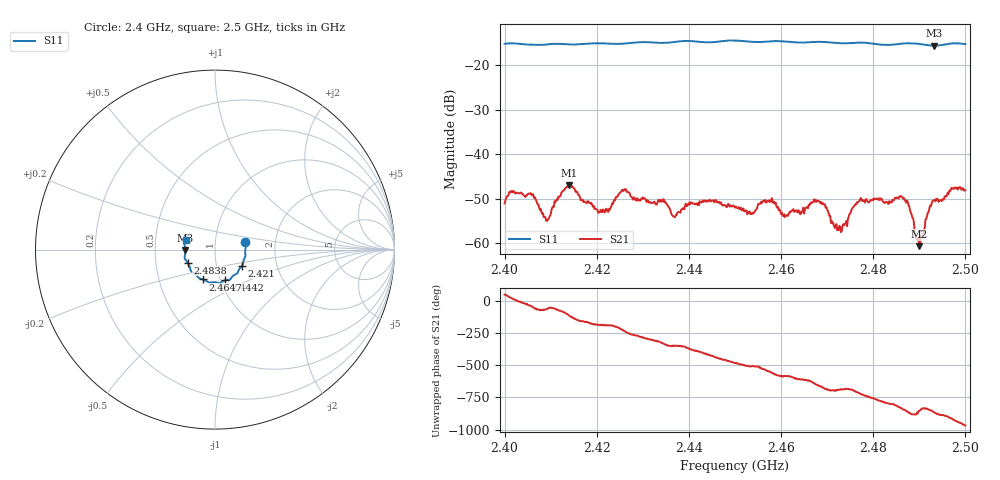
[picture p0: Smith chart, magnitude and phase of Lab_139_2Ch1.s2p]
# Hz S RI R 50
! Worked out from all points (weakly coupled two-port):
!   601 points, 2.4 GHz to 2.5 GHz, reference 50 ohm
!   highest |S21| = -47.03 dB at 2.414 GHz (marker M1); lowest = -60.7 dB at 2.49 GHz (marker M2)
!   lowest |S11| = -15.6 dB at 2.4932 GHz (marker M3), VSWR 1.40, Z = 35.8 - j0.112 ohm
!   |S11| at or under -10 dB: start of sweep to end of sweep
!   S12 and S22 are empty: the file has one direction only
!   S11 on the Smith chart (normalised r, x): 2.4 GHz: 1.40, +0.12; 2.421 GHz: 1.33, -0.24; 2.4442 GHz: 1.05, -0.37; 2.4647 GHz: 0.83, -0.28; 2.4838 GHz: 0.73, -0.11; 2.5 GHz: 0.71, +0.08
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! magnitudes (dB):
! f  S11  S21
! 2.4 GHz  -15.2  -51.1
! 2.4057 GHz  -15.4  -48.8
! 2.4092 GHz  -15.4  -55.0
! 2.414 GHz  -15.4  -47.0
! 2.4167 GHz  -15.3  -50.2
! 2.421 GHz  -15.1  -52.8
! 2.4258 GHz  -15.2  -48.3
! 2.4333 GHz  -15.0  -50.3
! 2.4368 GHz  -14.8  -54.1
! 2.4442 GHz  -14.9  -50.7
! 2.45 GHz  -14.5  -52.0
! 2.4647 GHz  -14.9  -52.9
! 2.4667 GHz  -14.8  -51.0
! 2.4693 GHz  -14.8  -51.3
! 2.4727 GHz  -15.1  -56.1
! 2.477 GHz  -15.0  -50.5
! 2.4833 GHz  -15.5  -51.2
! 2.4838 GHz  -15.5  -50.8
! 2.4872 GHz  -15.1  -50.9
! 2.49 GHz  -15.3  -60.7
! 2.4932 GHz  -15.6  -50.3
! 2.5 GHz  -15.3  -48.1
